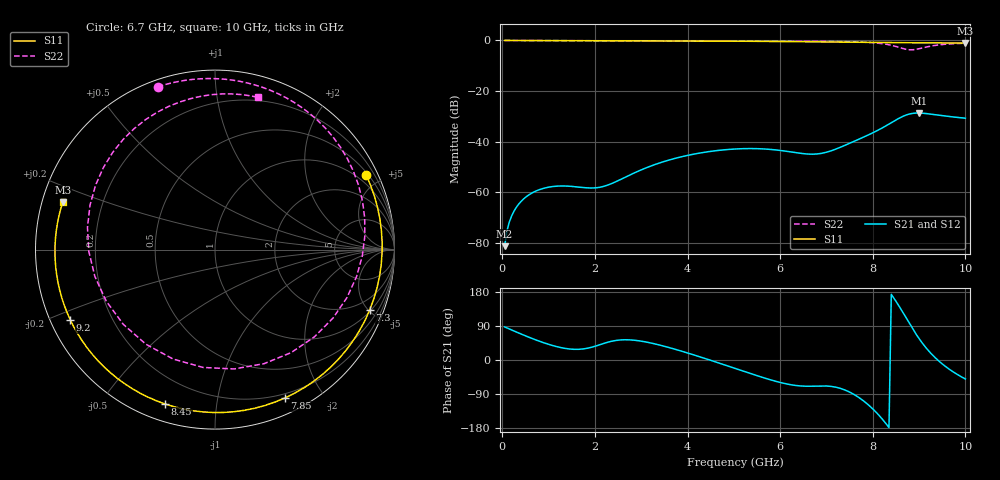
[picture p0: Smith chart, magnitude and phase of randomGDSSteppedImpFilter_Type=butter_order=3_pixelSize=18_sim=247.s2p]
! freq	dB(S11)	phase(S11)	dB(S12)	phase(S12)
!  dB(S21)	phase(S21)	dB(S22)	phase(S22)
!S-par simulation data
#  GHz  S  DB  R 50
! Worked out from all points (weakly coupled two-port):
!   200 points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, 50 MHz to 10 GHz, reference 50 ohm
!   highest |S21| = -28.70 dB at 9 GHz (marker M1); lowest = -81.4 dB at 50 MHz (marker M2)
!   lowest |S11| = -1.0 dB at 10 GHz (marker M3), VSWR 16.98, Z = 3.01 + j7.55 ohm
!   |S11| at or under -10 dB: nowhere
!   |S22| runs from -3.7 to 0.0 dB; largest |S21 - S12| = 0
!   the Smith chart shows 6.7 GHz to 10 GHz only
!   S11 on the Smith chart (normalised r, x): 6.7 GHz: 0.60, +4.22; 7.3 GHz: 1.08, -5.07; 7.85 GHz: 0.16, -1.56; 8.45 GHz: 0.08, -0.73; 9.2 GHz: 0.06, -0.23; 10 GHz: 0.06, +0.15
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0.05  -0.00 -2.8  -81.36 87.4  -81.36 87.4  -0.00 -2.7
0.25  -0.02 -13.6  -67.59 76.7  -67.59 76.7  -0.02 -13.4
0.55  -0.04 -29.6  -61.38 61.3  -61.38 61.3  -0.04 -29.2
1.15  -0.07 -60.5  -57.66 36.1  -57.66 36.1  -0.07 -59.1
1.75  -0.10 -89.3  -58.19 29.2  -58.19 29.2  -0.10 -86.3
2.5  -0.14 -122.4  -55.46 52.3  -55.46 52.3  -0.12 -116.1
3.4  -0.17 -159.3  -48.43 39.4  -48.43 39.4  -0.15 -147.0
4.25  -0.22 165.6  -44.57 9.0  -44.57 9.0  -0.18 -173.3
5.05  -0.29 129.1  -42.91 -23.1  -42.91 -23.1  -0.22 162.9
5.95  -0.41 78.8  -43.38 -57.7  -43.38 -57.7  -0.27 135.3
6.7  -0.55 26.2  -44.98 -69.1  -44.98 -69.1  -0.34 109.4
7.3  -0.67 -21.4  -42.25 -74.8  -42.25 -74.8  -0.45 84.1
7.85  -0.78 -64.8  -37.83 -112.7  -37.83 -112.7  -0.73 51.5
8.1  -0.83 -83.4  -35.62 -141.4  -35.62 -141.4  -1.05 29.6
8.35  -0.86 -101.1  -33.08 -178.3  -33.08 -178.3  -1.71 -2.5
8.45  -0.88 -107.9  -32.00 164.3  -32.00 164.3  -2.13 -20.0
8.6  -0.90 -117.7  -30.46 135.7  -30.46 135.7  -2.93 -53.5
8.75  -0.91 -127.3  -29.31 105.1  -29.31 105.1  -3.61 -95.8
9  -0.93 -142.5  -28.70 56.4  -28.70 56.4  -3.28 -167.4
9.2  -0.95 -154.2  -29.01 24.9  -29.01 24.9  -2.43 151.7
9.55  -0.98 -173.6  -29.85 -15.2  -29.85 -15.2  -1.53 107.9
10  -1.02 162.8  -30.75 -50.1  -30.75 -50.1  -1.09 74.3
